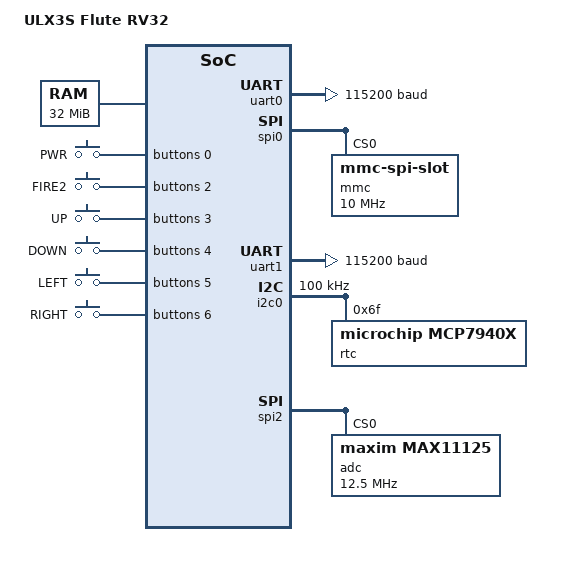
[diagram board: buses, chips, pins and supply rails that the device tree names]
// ULX3S Flute SoC: RV32IMAC (+S, U, Sv32, PMP), 32 MB SDRAM, CLINT, PLIC (2 contexts), two 16550 UARTs,
// two SPI hosts, I2C (RTC, HDMI DDC), buttons, switches, audio, power-off.  lx44 or later bitstream.
// Map: Flute/src_Testbench/SoC/SoC_Map.bsv.  mtime ticks once per core clock (25 MHz board clock
// by default; 32.142857 MHz with SYS_PLL=1).
/dts-v1/;

/ {
	#address-cells = <1>;
	#size-cells = <1>;
	compatible = "ulx3s,flute-soc";
	model = "ULX3S Flute RV32";

	chosen {
		bootargs = "earlycon=uart8250,mmio32,0xc0000000 console=ttyS0 loglevel=8";
		stdout-path = "serial0";
	};

	aliases {
		serial0 = &uart0;
		serial1 = &uart1;
		rtc0 = &rtc;
	};

	cpus {
		#address-cells = <1>;
		#size-cells = <0>;
		timebase-frequency = <25000000>;

		cpu0: cpu@0 {
			device_type = "cpu";
			reg = <0>;
			status = "okay";
			compatible = "riscv";
			riscv,isa = "rv32imafdc_zicsr_zifencei";
			riscv,isa-base = "rv32i";
			riscv,isa-extensions = "i", "m", "a", "f", "d", "c", "zicsr", "zifencei", "zicntr";
			mmu-type = "riscv,sv32";

			cpu0_intc: interrupt-controller {
				#interrupt-cells = <1>;
				compatible = "riscv,cpu-intc";
				interrupt-controller;
			};
		};
	};

	memory@80000000 {
		device_type = "memory";
		reg = <0x80000000 0x02000000>;
	};

	/* 50 MHz system clock (SYS_PLL=50), feeds the SPI host's divider. */
	spiclk: spi-clock {
		compatible = "fixed-clock";
		#clock-cells = <0>;
		clock-frequency = <50000000>;
	};
	soc {
		#address-cells = <1>;
		#size-cells = <1>;
		compatible = "simple-bus";
		ranges;

		clint0: clint@2000000 {
			compatible = "sifive,clint0", "riscv,clint0";
			reg = <0x02000000 0x0000c000>;
			interrupts-extended = <&cpu0_intc 3>, <&cpu0_intc 7>;
		};

		plic0: interrupt-controller@c000000 {
			compatible = "sifive,plic-1.0.0", "riscv,plic0";
			reg = <0x0c000000 0x00400000>;
			#address-cells = <0>;
			#interrupt-cells = <1>;
			interrupt-controller;
			interrupts-extended = <&cpu0_intc 11>, <&cpu0_intc 9>;
			riscv,ndev = <16>;
		};

		uart0: serial@c0000000 {
			compatible = "ns16550a";
			reg = <0xc0000000 0x80>;
			reg-shift = <2>;
			reg-io-width = <4>;
			clock-frequency = <25000000>;
			current-speed = <115200>;
			interrupt-parent = <&plic0>;
			interrupts = <1>;
		};
		/* SPI host on the microSD slot: src/AXI4_SPI.bsv, SiFive SPI registers.  Its clock is
		 * the 50 MHz system clock (SYS_PLL=50); sck = clk / (2 * (div + 1)). */
		spi0: spi@c0004000 {
			compatible = "sifive,spi0";
			reg = <0xc0004000 0x1000>;
			clocks = <&spiclk>;
			interrupt-parent = <&plic0>;
			interrupts = <3>;
			sifive,fifo-depth = <8>;
			sifive,max-bits-per-word = <8>;
			#address-cells = <1>;
			#size-cells = <0>;
			mmc@0 {
				compatible = "mmc-spi-slot";
				reg = <0>;
				spi-max-frequency = <10000000>;
				voltage-ranges = <3300 3300>;
				disable-wp;
			};
		};
		/* ESP32 UART0 (uart1, a fixed 115200 baud; clock-frequency is not used by the hardware).  The
		 * ESP32 is held in reset unless gpio1 0x0C EN is set, and then only runs its ROM bootloader. */
		uart1: serial@c0007000 {
			compatible = "ns16550a";
			reg = <0xc0007000 0x80>;
			reg-shift = <2>;
			reg-io-width = <4>;
			clock-frequency = <25000000>;
			current-speed = <115200>;
			interrupt-parent = <&plic0>;
			interrupts = <5>;
		};
		/* src/Board_IO.v: OpenCores I2C registers at a 4-byte stride, no IRQ (the driver polls).
		 * The bus is shared by the MCP7940N RTC and the HDMI DDC (the monitor's EDID at 0x50). */
		i2c0: i2c@c0006000 {
			compatible = "opencores,i2c-ocores";
			reg = <0xc0006000 0x20>;
			reg-shift = <2>;
			reg-io-width = <4>;
			opencores,ip-clock-frequency = <50000000>;
			clock-frequency = <100000>;
			#address-cells = <1>;
			#size-cells = <0>;
			rtc: rtc@6f {
				compatible = "microchip,mcp7940x";
				reg = <0x6f>;
				/* MFP (alarm 0, ALMPOL 0) powers the board back on: no IRQ, wake only */
				wakeup-source;
			};
		};
		/* gpio1 BTN (src/Board_IO.v): input only, 1 = pressed; 0 PWR, 1 FIRE1 (also the SoC reset),
		 * 2 FIRE2, 3 UP, 4 DOWN, 5 LEFT, 6 RIGHT */
		buttons: gpio@c0008004 {
			compatible = "wd,mbl-gpio";
			reg = <0xc0008004 0x4>;
			reg-names = "dat";
			no-output;
			gpio-controller;
			#gpio-cells = <2>;
		};
		/* gpio1 SW: the four DIP switches, 1 = on */
		switches: gpio@c0008008 {
			compatible = "wd,mbl-gpio";
			reg = <0xc0008008 0x4>;
			reg-names = "dat";
			no-output;
			gpio-controller;
			#gpio-cells = <2>;
		};
		/* gpio1 ESP32 (0x0C): line 0 EN (0 = held in reset), 1 its TX level (read only), 2 STRAP
		 * (GPIO2 low while the SD card is deselected; with EN rising = ROM download mode) */
		esp32_gpio: gpio@c000800c {
			compatible = "wd,mbl-gpio";
			reg = <0xc000800c 0x4>;
			reg-names = "dat";
			gpio-controller;
			#gpio-cells = <2>;
			ngpios = <3>;
			gpio-line-names = "ESP32_EN", "ESP32_TXD", "ESP32_GPIO2_LOW";
		};
		/* gpio1 POWER (0x10) and RECONF (0x14): each acts only on its full-word magic value */
		board_ctl: syscon@c0008010 {
			compatible = "syscon";
			reg = <0xc0008010 0x8>;
		};
		/* src/Audio.v: PCM FIFO and tone on the jack's 4-bit DACs (driver: kernel/patches) */
		audio@c0009000 {
			compatible = "ulx3s,flute-audio";
			reg = <0xc0009000 0x1000>;
			clock-frequency = <50000000>;
		};
		/* Second SPI host (src/AXI4_SPI.bsv) on the MAX11125 ADC, chip select 0 (driver:
		 * kernel/drivers/max1112x.c, SPI mode 3, manual mode; /sys/bus/iio/devices/iio:device0). */
		spi2: spi@c000a000 {
			compatible = "sifive,spi0";
			reg = <0xc000a000 0x1000>;
			clocks = <&spiclk>;
			interrupt-parent = <&plic0>;
			interrupts = <4>;
			sifive,fifo-depth = <8>;
			sifive,max-bits-per-word = <8>;
			#address-cells = <1>;
			#size-cells = <0>;
			adc@0 {
				compatible = "maxim,max11125";
				reg = <0>;
				spi-max-frequency = <12500000>;
				spi-cpol;
				spi-cpha;
				vref-mv = <3300>;
			};
		};
		/* DVI framebuffer (src/Video_DVI.v): 320x240 RGB565, scanned out doubled to 640x480.
		 * simplefb does not program the hardware; /init sets MODE (0xc0010004) to 2. */
		framebuffer@c1000000 {
			compatible = "simple-framebuffer";
			reg = <0xc1000000 0x25800>;
			width = <320>;
			height = <240>;
			stride = <640>;
			format = "r5g6b5";
		};
	};

	/* POWER: "POFF" raises SHUTDOWN.  While US1 powers the board the FT231X keeps it on. */
	poweroff {
		compatible = "syscon-poweroff";
		regmap = <&board_ctl>;
		offset = <0x0>;
		value = <0x504f4646>;
		mask = <0xffffffff>;
	};
	/* reboot = RECONF: PROGRAMN low, the FPGA reloads its configuration from flash */
	reboot {
		compatible = "syscon-reboot";
		regmap = <&board_ctl>;
		offset = <0x4>;
		value = <0x52454346>;
		mask = <0xffffffff>;
	};

	/* the buttons as keys (FIRE1 is left out: it is the SoC reset) */
	keys {
		compatible = "gpio-keys-polled";
		poll-interval = <20>;
		key-power { label = "PWR"; linux,code = <116>; gpios = <&buttons 0 0>; };
		key-enter { label = "FIRE2"; linux,code = <28>; gpios = <&buttons 2 0>; };
		key-up    { label = "UP"; linux,code = <103>; gpios = <&buttons 3 0>; };
		key-down  { label = "DOWN"; linux,code = <108>; gpios = <&buttons 4 0>; };
		key-left  { label = "LEFT"; linux,code = <105>; gpios = <&buttons 5 0>; };
		key-right { label = "RIGHT"; linux,code = <106>; gpios = <&buttons 6 0>; };
	};
};
